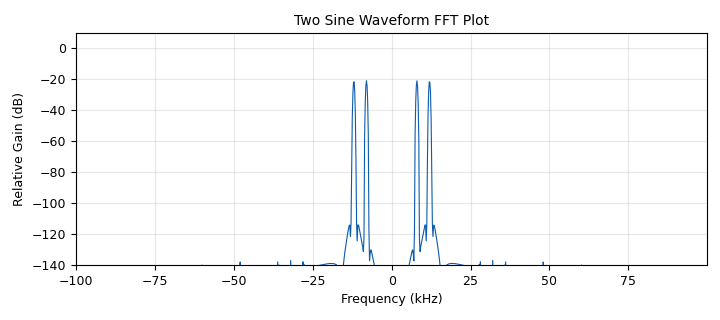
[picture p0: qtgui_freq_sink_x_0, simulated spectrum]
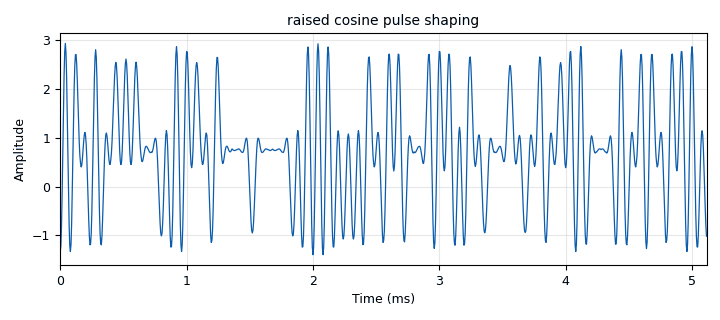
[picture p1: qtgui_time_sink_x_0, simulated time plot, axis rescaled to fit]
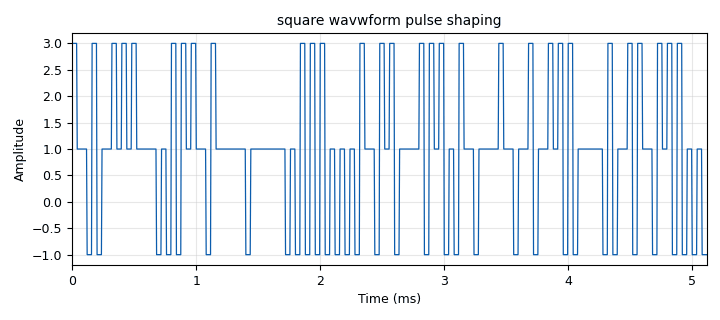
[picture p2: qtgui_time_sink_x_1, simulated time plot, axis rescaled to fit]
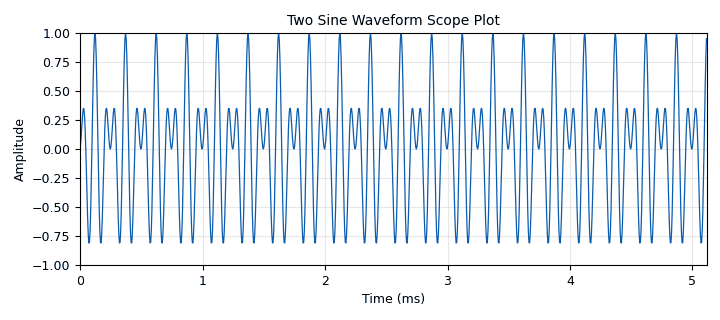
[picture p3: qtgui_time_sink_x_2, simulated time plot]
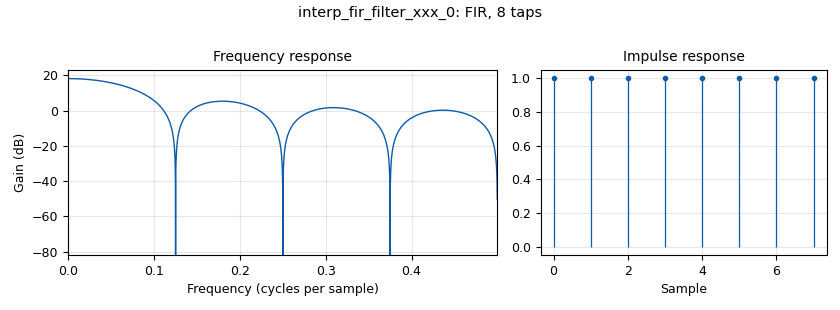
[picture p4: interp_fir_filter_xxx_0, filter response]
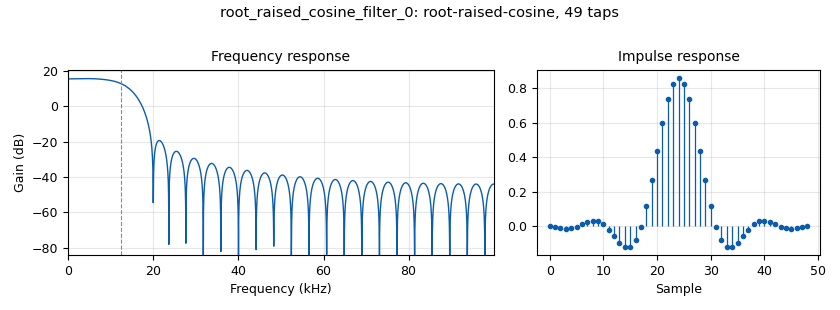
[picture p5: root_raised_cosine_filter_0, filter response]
<?xml version='1.0' encoding='utf-8'?>
<?grc format='1' created='3.7.13'?>
<flow_graph>
<block>
<key>options</key>
<param><key>id</key><value>top_block</value></param>
<param><key>author</key><value>talaei</value></param>
<param><key>category</key><value>Custom</value></param>
<param><key>generate_options</key><value>qt_gui</value></param>
<param><key>title</key><value>different wave forms</value></param>
</block>
<block>
<key>variable</key>
<param><key>id</key><value>f1</value></param>
<param><key>value</key><value>10000</value></param>
</block>
<block>
<key>variable</key>
<param><key>id</key><value>f2</value></param>
<param><key>value</key><value>2000</value></param>
</block>
<block>
<key>variable</key>
<param><key>id</key><value>samp_rate</value></param>
<param><key>value</key><value>200000</value></param>
</block>
<block>
<key>variable</key>
<param><key>id</key><value>span_in_symbol_duration</value></param>
<param><key>value</key><value>6</value></param>
</block>
<block>
<key>variable</key>
<param><key>id</key><value>upsampling_factor</value></param>
<param><key>value</key><value>8</value></param>
</block>
<block>
<key>analog_random_source_x</key>
<param><key>id</key><value>analog_random_source_x_0</value></param>
<param><key>max</key><value>2</value></param>
<param><key>min</key><value>0</value></param>
<param><key>num_samps</key><value>1000</value></param>
<param><key>type</key><value>byte</value></param>
<param><key>repeat</key><value>True</value></param>
</block>
<block>
<key>analog_sig_source_x</key>
<param><key>id</key><value>analog_sig_source_x_0</value></param>
<param><key>amp</key><value>1</value></param>
<param><key>freq</key><value>f2</value></param>
<param><key>offset</key><value>0</value></param>
<param><key>type</key><value>float</value></param>
<param><key>samp_rate</key><value>samp_rate</value></param>
<param><key>waveform</key><value>analog.GR_COS_WAVE</value></param>
</block>
<block>
<key>analog_sig_source_x</key>
<param><key>id</key><value>analog_sig_source_x_1</value></param>
<param><key>amp</key><value>1</value></param>
<param><key>freq</key><value>f1</value></param>
<param><key>offset</key><value>0</value></param>
<param><key>type</key><value>float</value></param>
<param><key>samp_rate</key><value>samp_rate</value></param>
<param><key>waveform</key><value>analog.GR_COS_WAVE</value></param>
</block>
<block>
<key>blocks_add_const_vxx</key>
<param><key>id</key><value>blocks_add_const_vxx_0</value></param>
<param><key>const</key><value>-1</value></param>
<param><key>type</key><value>float</value></param>
</block>
<block>
<key>blocks_add_xx</key>
<param><key>id</key><value>blocks_add_xx_0</value></param>
<param><key>type</key><value>float</value></param>
</block>
<block>
<key>blocks_char_to_float</key>
<param><key>id</key><value>blocks_char_to_float_0</value></param>
<param><key>scale</key><value>1</value></param>
</block>
<block>
<key>blocks_file_sink</key>
<param><key>id</key><value>blocks_file_sink_0_0_0</value></param>
<param><key>file</key><value>/home/username/path/to/raised cosine_shapped_PRBS.dat</value></param>
<param><key>type</key><value>float</value></param>
</block>
<block>
<key>blocks_file_sink</key>
<param><key>id</key><value>blocks_file_sink_0_0_0_0</value></param>
<param><key>file</key><value>/home/username/path/to/square_shapped_BRBS.dat</value></param>
<param><key>type</key><value>float</value></param>
</block>
<block>
<key>blocks_file_sink</key>
<param><key>id</key><value>blocks_file_sink_0_0_0_0_0</value></param>
<param><key>file</key><value>/home/username/path/to/two sin waves.dat</value></param>
<param><key>type</key><value>float</value></param>
</block>
<block>
<key>blocks_multiply_const_vxx</key>
<param><key>id</key><value>blocks_multiply_const_vxx_0</value></param>
<param><key>const</key><value>2</value></param>
<param><key>type</key><value>float</value></param>
</block>
<block>
<key>blocks_multiply_xx</key>
<param><key>id</key><value>blocks_multiply_xx_0</value></param>
<param><key>type</key><value>float</value></param>
</block>
<block>
<key>blocks_throttle</key>
<param><key>id</key><value>blocks_throttle_0</value></param>
<param><key>samples_per_second</key><value>samp_rate</value></param>
<param><key>type</key><value>float</value></param>
</block>
<block>
<key>blocks_throttle</key>
<param><key>id</key><value>blocks_throttle_0_0</value></param>
<param><key>samples_per_second</key><value>samp_rate</value></param>
<param><key>type</key><value>float</value></param>
</block>
<block>
<key>blocks_vector_source_x</key>
<param><key>id</key><value>blocks_vector_source_x_0</value></param>
<param><key>type</key><value>float</value></param>
<param><key>repeat</key><value>True</value></param>
<param><key>vector</key><value>(1,0)</value></param>
</block>
<block>
<key>interp_fir_filter_xxx</key>
<param><key>id</key><value>interp_fir_filter_xxx_0</value></param>
<param><key>interp</key><value>upsampling_factor</value></param>
<param><key>taps</key><value>(1,1,1,1,1,1,1,1)</value></param>
<param><key>type</key><value>fff</value></param>
</block>
<block>
<key>qtgui_freq_sink_x</key>
<param><key>id</key><value>qtgui_freq_sink_x_0</value></param>
<param><key>bw</key><value>samp_rate</value></param>
<param><key>fc</key><value>0</value></param>
<param><key>fftsize</key><value>1024</value></param>
<param><key>gui_hint</key><value>tabs_0@2</value></param>
<param><key>name</key><value>"Two Sine Waveform FFT Plot"</value></param>
<param><key>showports</key><value>True</value></param>
<param><key>type</key><value>float</value></param>
<param><key>wintype</key><value>firdes.WIN_BLACKMAN_hARRIS</value></param>
</block>
<block>
<key>qtgui_time_sink_x</key>
<param><key>id</key><value>qtgui_time_sink_x_0</value></param>
<param><key>gui_hint</key><value>tabs_0@0</value></param>
<param><key>color1</key><value>"blue"</value></param>
<param><key>label1</key><value></value></param>
<param><key>name</key><value>"raised cosine pulse shaping"</value></param>
<param><key>size</key><value>1024</value></param>
<param><key>srate</key><value>samp_rate</value></param>
<param><key>type</key><value>float</value></param>
</block>
<block>
<key>qtgui_time_sink_x</key>
<param><key>id</key><value>qtgui_time_sink_x_1</value></param>
<param><key>gui_hint</key><value>tabs_0@1</value></param>
<param><key>color1</key><value>"blue"</value></param>
<param><key>label1</key><value></value></param>
<param><key>name</key><value>"square wavwform pulse shaping"</value></param>
<param><key>size</key><value>1024</value></param>
<param><key>srate</key><value>samp_rate</value></param>
<param><key>type</key><value>float</value></param>
</block>
<block>
<key>qtgui_time_sink_x</key>
<param><key>id</key><value>qtgui_time_sink_x_2</value></param>
<param><key>gui_hint</key><value>tabs_0@2</value></param>
<param><key>color1</key><value>"blue"</value></param>
<param><key>label1</key><value></value></param>
<param><key>name</key><value>"Two Sine Waveform Scope Plot"</value></param>
<param><key>size</key><value>1024</value></param>
<param><key>srate</key><value>samp_rate</value></param>
<param><key>type</key><value>float</value></param>
</block>
<block>
<key>root_raised_cosine_filter</key>
<param><key>id</key><value>root_raised_cosine_filter_0</value></param>
<param><key>alpha</key><value>0.500</value></param>
<param><key>type</key><value>interp_fir_filter_fff</value></param>
<param><key>gain</key><value>6</value></param>
<param><key>interp</key><value>upsampling_factor</value></param>
<param><key>ntaps</key><value>upsampling_factor*span_in_symbol_duration</value></param>
<param><key>samp_rate</key><value>samp_rate</value></param>
<param><key>sym_rate</key><value>samp_rate/upsampling_factor</value></param>
</block>
<block>
<key>qtgui_tab_widget</key>
<param><key>id</key><value>tabs_0</value></param>
<param><key>label0</key><value>Tab 0</value></param>
<param><key>label1</key><value>Tab 1</value></param>
<param><key>label2</key><value>Tab 2</value></param>
<param><key>num_tabs</key><value>3</value></param>
</block>
<connection><source_block_id>analog_random_source_x_0</source_block_id><sink_block_id>blocks_char_to_float_0</sink_block_id><source_key>0</source_key><sink_key>0</sink_key></connection>
<connection><source_block_id>analog_sig_source_x_0</source_block_id><sink_block_id>blocks_multiply_xx_0</sink_block_id><source_key>0</source_key><sink_key>1</sink_key></connection>
<connection><source_block_id>analog_sig_source_x_1</source_block_id><sink_block_id>blocks_multiply_xx_0</sink_block_id><source_key>0</source_key><sink_key>0</sink_key></connection>
<connection><source_block_id>blocks_add_const_vxx_0</source_block_id><sink_block_id>blocks_throttle_0</sink_block_id><source_key>0</source_key><sink_key>0</sink_key></connection>
<connection><source_block_id>blocks_add_xx_0</source_block_id><sink_block_id>blocks_multiply_const_vxx_0</sink_block_id><source_key>0</source_key><sink_key>0</sink_key></connection>
<connection><source_block_id>blocks_char_to_float_0</source_block_id><sink_block_id>blocks_add_xx_0</sink_block_id><source_key>0</source_key><sink_key>1</sink_key></connection>
<connection><source_block_id>blocks_multiply_const_vxx_0</source_block_id><sink_block_id>blocks_add_const_vxx_0</sink_block_id><source_key>0</source_key><sink_key>0</sink_key></connection>
<connection><source_block_id>blocks_multiply_xx_0</source_block_id><sink_block_id>blocks_throttle_0_0</sink_block_id><source_key>0</source_key><sink_key>0</sink_key></connection>
<connection><source_block_id>blocks_throttle_0</source_block_id><sink_block_id>interp_fir_filter_xxx_0</sink_block_id><source_key>0</source_key><sink_key>0</sink_key></connection>
<connection><source_block_id>blocks_throttle_0</source_block_id><sink_block_id>root_raised_cosine_filter_0</sink_block_id><source_key>0</source_key><sink_key>0</sink_key></connection>
<connection><source_block_id>blocks_throttle_0_0</source_block_id><sink_block_id>blocks_file_sink_0_0_0_0_0</sink_block_id><source_key>0</source_key><sink_key>0</sink_key></connection>
<connection><source_block_id>blocks_throttle_0_0</source_block_id><sink_block_id>qtgui_freq_sink_x_0</sink_block_id><source_key>0</source_key><sink_key>0</sink_key></connection>
<connection><source_block_id>blocks_throttle_0_0</source_block_id><sink_block_id>qtgui_time_sink_x_2</sink_block_id><source_key>0</source_key><sink_key>0</sink_key></connection>
<connection><source_block_id>blocks_vector_source_x_0</source_block_id><sink_block_id>blocks_add_xx_0</sink_block_id><source_key>0</source_key><sink_key>0</sink_key></connection>
<connection><source_block_id>interp_fir_filter_xxx_0</source_block_id><sink_block_id>blocks_file_sink_0_0_0_0</sink_block_id><source_key>0</source_key><sink_key>0</sink_key></connection>
<connection><source_block_id>interp_fir_filter_xxx_0</source_block_id><sink_block_id>qtgui_time_sink_x_1</sink_block_id><source_key>0</source_key><sink_key>0</sink_key></connection>
<connection><source_block_id>root_raised_cosine_filter_0</source_block_id><sink_block_id>blocks_file_sink_0_0_0</sink_block_id><source_key>0</source_key><sink_key>0</sink_key></connection>
<connection><source_block_id>root_raised_cosine_filter_0</source_block_id><sink_block_id>qtgui_time_sink_x_0</sink_block_id><source_key>0</source_key><sink_key>0</sink_key></connection>
</flow_graph>
